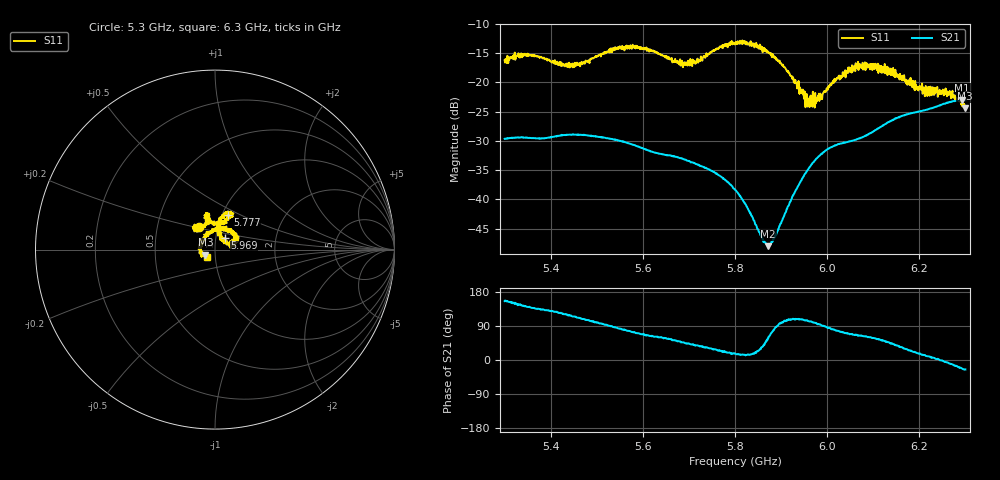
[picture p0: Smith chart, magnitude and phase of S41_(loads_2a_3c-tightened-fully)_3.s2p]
! NanoVNA-App
! Date: 2026-11-04 23:50:05
! Start: 5,3GHz Stop: 6,3GHz Points: 1001
! S-Parameter data: F S11 S21 S12 S22
# Hz S RI R 50
!  Frequency  S11_Real  S11_Imag  S21_Real  S21_Imag  S12_Real  S12_Imag  S22_Real  S22_Imag
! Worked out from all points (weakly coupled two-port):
!   1001 points, 5.3 GHz to 6.3 GHz, reference 50 ohm
!   highest |S21| = -22.98 dB at 6.293 GHz (marker M1); lowest = -48.0 dB at 5.872 GHz (marker M2)
!   lowest |S11| = -24.4 dB at 6.299 GHz (marker M3), VSWR 1.13, Z = 44.9 - j2.56 ohm
!   |S11| at or under -10 dB: start of sweep to end of sweep
!   S12 and S22 are empty: the file has one direction only
!   S11 on the Smith chart (normalised r, x): 5.3 GHz: 0.81, +0.21; 5.777 GHz: 1.06, +0.43; 5.969 GHz: 1.10, +0.14; 6.3 GHz: 0.91, -0.07
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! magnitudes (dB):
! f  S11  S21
! 5.3 GHz  -16.2  -29.6
! 5.347 GHz  -15.2  -29.4
! 5.467 GHz  -16.5  -29.0
! 5.55 GHz  -13.8  -30.0
! 5.634 GHz  -15.0  -32.2
! 5.692 GHz  -17.0  -33.2
! 5.777 GHz  -13.8  -36.5
! 5.8 GHz  -13.5  -38.3
! 5.872 GHz  -14.7  -48.0
! 5.885 GHz  -15.8  -46.5
! 5.909 GHz  -17.5  -42.3
! 5.957 GHz  -23.0  -35.0
! 5.967 GHz  -23.3  -33.9
! 5.969 GHz  -21.6  -33.7
! 6.004 GHz  -20.5  -31.2
! 6.062 GHz  -16.7  -29.8
! 6.134 GHz  -18.2  -26.8
! 6.207 GHz  -21.9  -24.8
! 6.267 GHz  -21.8  -23.3
! 6.293 GHz  -24.1  -23.0
! 6.299 GHz  -24.4  -23.0
! 6.3 GHz  -24.3  -23.0
